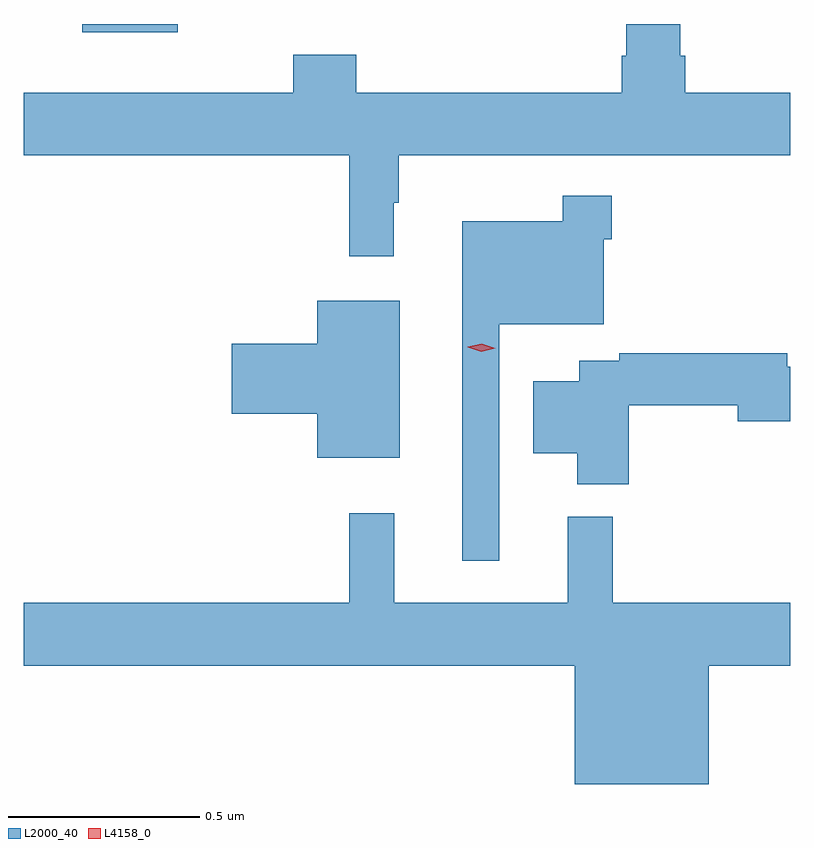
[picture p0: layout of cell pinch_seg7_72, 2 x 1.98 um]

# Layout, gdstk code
import gdstk
lib = gdstk.Library(unit=1e-6, precision=1e-09)
def R(c, l, rs):  # rectangles x0, y0, x1, y1
    for r in rs: c.add(gdstk.rectangle(r[:2], r[2:], *l))
def P(c, l, *ps):  # polygons
    for p in ps: c.add(gdstk.Polygon(p, *l))
L2000_40 = (2000, 40)
L4158_0 = (4158, 0)

pinch_seg7_72 = lib.new_cell('pinch_seg7_72')
R(pinch_seg7_72, L2000_40, [(960.39,1066.205,960.64,1066.227)])
P(pinch_seg7_72, L2000_40, [(961.204,1065.761),(961.216,1065.761),(961.216,1065.884),(962.238,1065.884),(962.238,1066.048),(961.964,1066.048),(961.964,1066.144),(961.951,1066.144),(961.951,1066.227),(961.811,1066.227),(961.811,1066.144),(961.799,1066.144),(961.799,1066.048),(961.106,1066.048),(961.106,1066.147),(960.941,1066.147),(960.941,1066.048),(960.238,1066.048),(960.238,1065.884),(961.087,1065.884),(961.087,1065.621),(961.204,1065.621)],
  [(961.479,1065.443),(961.752,1065.443),(961.752,1065.665),(961.772,1065.665),(961.772,1065.778),(961.644,1065.778),(961.644,1065.712),(961.382,1065.712),(961.382,1064.826),(961.479,1064.826)],
  [(961.219,1065.505),(961.004,1065.505),(961.004,1065.392),(960.78,1065.392),(960.78,1065.209),(961.004,1065.209),(961.004,1065.095),(961.219,1065.095)],
  [(961.817,1065.232),(962.102,1065.232),(962.102,1065.19),(962.238,1065.19),(962.238,1065.332),(962.23,1065.332),(962.23,1065.368),(961.792,1065.368),(961.792,1065.348),(961.688,1065.348),(961.688,1065.295),(961.568,1065.295),(961.568,1065.107),(961.682,1065.107),(961.682,1065.026),(961.817,1065.026)],
  [(962.026,1064.552),(962.238,1064.552),(962.238,1064.716),(961.775,1064.716),(961.775,1064.941),(961.658,1064.941),(961.658,1064.716),(961.205,1064.716),(961.205,1064.95),(961.087,1064.95),(961.087,1064.716),(960.238,1064.716),(960.238,1064.552),(961.676,1064.552),(961.676,1064.243),(962.026,1064.243)])
P(pinch_seg7_72, L4158_0, [(961.432,1065.372),(961.397,1065.383),(961.397,1065.384),(961.397,1065.384),(961.433,1065.392),(961.468,1065.381),(961.469,1065.38),(961.468,1065.38)])

lib.write_gds('pinch_seg7_72.gds')
